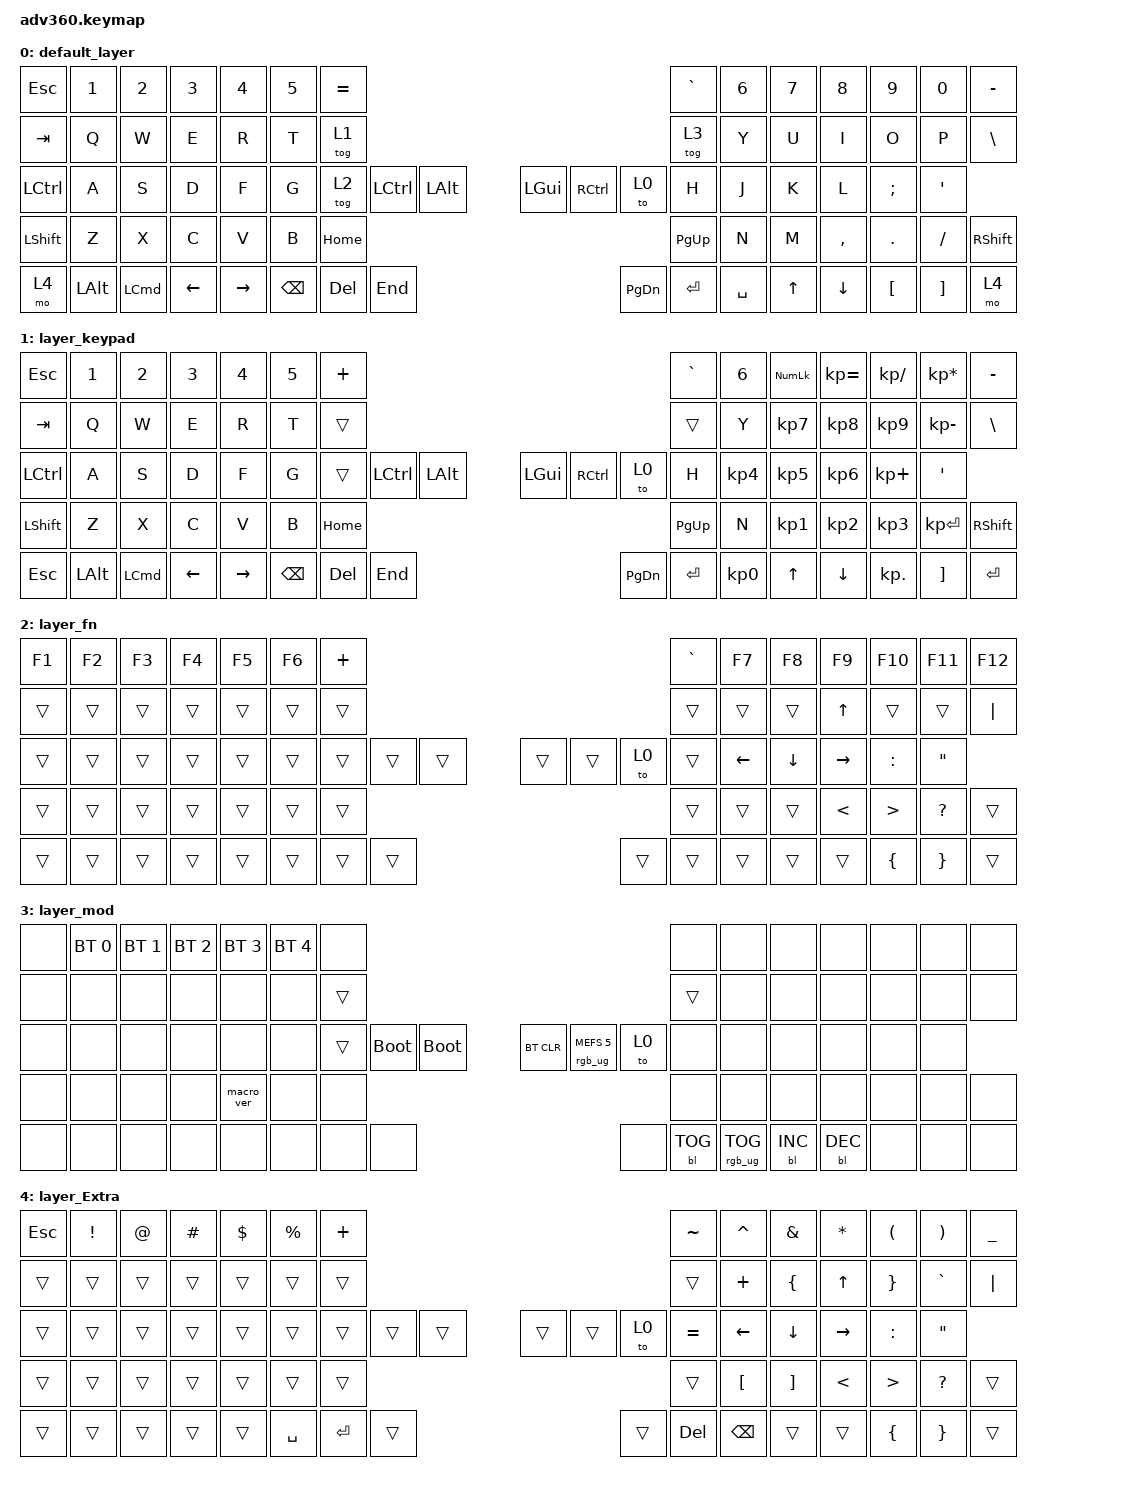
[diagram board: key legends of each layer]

/*
 * Copyright (c) 2020 The ZMK Contributors
 *
 * SPDX-License-Identifier: MIT
 */


/* THIS FILE WAS GENERATED!
 *
 * This file was generated automatically. You may or may not want to
 * edit it directly.
 */

#include <behaviors.dtsi>
#include <dt-bindings/zmk/keys.h>
#include <dt-bindings/zmk/bt.h>
#include <dt-bindings/zmk/rgb.h>
#include <dt-bindings/zmk/backlight.h>

/ {
  behaviors {
    #include "macros.dtsi"
    #include "version.dtsi"

    hm: homerow_mods {
        compatible = "zmk,behavior-hold-tap";
        label = "HOMEROW_MODS";
        #binding-cells = <2>;
        tapping-term-ms = <200>;
        quick_tap_ms = <175>;
        flavor = "tap-preferred";
        bindings = <&kp>, <&kp>;
    };
  };

    keymap {
        compatible = "zmk,keymap";


        default_layer {
            bindings = <
          &kp ESC        &kp N1            &kp N2    &kp N3     &kp N4  &kp N5            &kp EQUAL                                                             &kp GRAVE  &kp N6  &kp N7     &kp N8    &kp N9    &kp N0  &kp MINUS
          &kp TAB         &kp Q             &kp W     &kp E      &kp R   &kp T               &tog 1                                                                &tog 3   &kp Y   &kp U      &kp I     &kp O     &kp P   &kp BSLH
 &kp LEFT_CONTROL         &kp A             &kp S     &kp D      &kp F   &kp G               &tog 2  &kp LCTRL  &kp LALT                   &kp LGUI  &kp RCTRL      &to 0   &kp H   &kp J      &kp K     &kp L  &kp SEMI    &kp SQT
        &kp LSHFT         &kp Z             &kp X     &kp C      &kp V   &kp B                                  &kp HOME                  &kp PG_UP                         &kp N   &kp M  &kp COMMA   &kp DOT  &kp FSLH  &kp RSHFT
            &mo 4  &kp LEFT_ALT  &kp LEFT_COMMAND  &kp LEFT  &kp RIGHT                     &kp BSPC    &kp DEL   &kp END                  &kp PG_DN  &kp ENTER  &kp SPACE          &kp UP   &kp DOWN  &kp LBKT  &kp RBKT      &mo 4
            >;
        };

        layer_keypad {
            bindings = <
          &kp ESC        &kp N1            &kp N2    &kp N3     &kp N4  &kp N5            &kp PLUS                                                             &kp GRAVE  &kp N6  &kp KP_NUM  &kp KP_EQUAL  &kp KP_DIVIDE  &kp KP_MULTIPLY  &kp MINUS
          &kp TAB         &kp Q             &kp W     &kp E      &kp R   &kp T              &trans                                                                &trans   &kp Y   &kp KP_N7     &kp KP_N8      &kp KP_N9     &kp KP_MINUS   &kp BSLH
 &kp LEFT_CONTROL         &kp A             &kp S     &kp D      &kp F   &kp G              &trans  &kp LCTRL  &kp LALT                   &kp LGUI  &kp RCTRL      &to 0   &kp H   &kp KP_N4     &kp KP_N5      &kp KP_N6      &kp KP_PLUS    &kp SQT
        &kp LSHFT         &kp Z             &kp X     &kp C      &kp V   &kp B                                 &kp HOME                  &kp PG_UP                         &kp N   &kp KP_N1     &kp KP_N2      &kp KP_N3     &kp KP_ENTER  &kp RSHFT
          &kp ESC  &kp LEFT_ALT  &kp LEFT_COMMAND  &kp LEFT  &kp RIGHT                    &kp BSPC    &kp DEL   &kp END                  &kp PG_DN  &kp ENTER  &kp KP_N0              &kp UP      &kp DOWN     &kp KP_DOT         &kp RBKT  &kp ENTER
            >;
        };

        layer_fn {
            bindings = <
 &kp F1  &kp F2  &kp F3  &kp F4  &kp F5  &kp F6            &kp PLUS                                                  &kp GRAVE  &kp F7    &kp F8         &kp F9           &kp F10          &kp F11            &kp F12
 &trans  &trans  &trans  &trans  &trans  &trans              &trans                                                     &trans  &trans    &trans         &kp UP            &trans           &trans           &kp PIPE
 &trans  &trans  &trans  &trans  &trans  &trans              &trans  &trans  &trans                  &trans  &trans      &to 0  &trans  &kp LEFT       &kp DOWN         &kp RIGHT        &kp COLON  &kp DOUBLE_QUOTES
 &trans  &trans  &trans  &trans  &trans  &trans                              &trans                  &trans                     &trans    &trans  &kp LESS_THAN  &kp GREATER_THAN     &kp QUESTION             &trans
 &trans  &trans  &trans  &trans  &trans                      &trans  &trans  &trans                  &trans  &trans     &trans            &trans         &trans    &kp LEFT_BRACE  &kp RIGHT_BRACE             &trans
            >;
        };

        layer_mod {
            bindings = <
  &none  &bt BT_SEL 0  &bt BT_SEL 1  &bt BT_SEL 2  &bt BT_SEL 3  &bt BT_SEL 4             &none                                                                                          &none   &none       &none       &none   &none   &none   &none
  &none         &none         &none         &none         &none         &none            &trans                                                                                         &trans   &none       &none       &none   &none   &none   &none
  &none         &none         &none         &none         &none         &none            &trans  &bootloader  &bootloader                  &bt BT_CLR  &rgb_ug RGB_MEFS_CMD 5            &to 0   &none       &none       &none   &none   &none   &none
  &none         &none         &none         &none    &macro_ver         &none                                       &none                       &none                                            &none       &none       &none   &none   &none   &none
  &none         &none         &none         &none         &none                           &none        &none        &none                       &none              &bl BL_TOG  &rgb_ug RGB_TOG          &bl BL_INC  &bl BL_DEC   &none   &none   &none
            >;
        };

        layer_Extra {
            bindings = <
 &kp ESC  &kp EXCLAMATION  &kp AT  &kp HASH  &kp DOLLAR  &kp PERCENT             &kp PLUS                                                             &kp TILDE         &kp CARET      &kp AMPERSAND    &kp ASTERISK  &kp LEFT_PARENTHESIS  &kp RIGHT_PARENTHESIS     &kp UNDERSCORE
  &trans           &trans  &trans    &trans      &trans       &trans               &trans                                                                &trans          &kp PLUS     &kp LEFT_BRACE    &kp UP_ARROW       &kp RIGHT_BRACE              &kp GRAVE           &kp PIPE
  &trans           &trans  &trans    &trans      &trans       &trans               &trans     &trans  &trans                  &trans      &trans          &to 0         &kp EQUAL           &kp LEFT  &kp DOWN_ARROW             &kp RIGHT              &kp COLON  &kp DOUBLE_QUOTES
  &trans           &trans  &trans    &trans      &trans       &trans                                  &trans                  &trans                             &kp LEFT_BRACKET  &kp RIGHT_BRACKET   &kp LESS_THAN      &kp GREATER_THAN           &kp QUESTION             &trans
  &trans           &trans  &trans    &trans      &trans                         &kp SPACE  &kp ENTER  &trans                  &trans  &kp DELETE  &kp BACKSPACE                               &trans          &trans        &kp LEFT_BRACE        &kp RIGHT_BRACE             &trans
            >;
        };

    };
};
